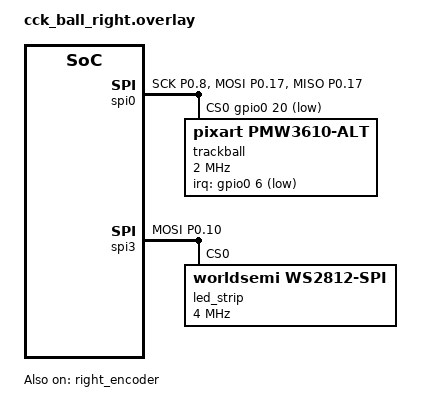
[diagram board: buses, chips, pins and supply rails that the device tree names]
/*
 * Copyright (c) 2020 ZMK Contributors
 *
 * SPDX-License-Identifier: MIT
 */
 
#include "cck_ball.dtsi"

&default_transform {
    col-offset = <6>;
}; 

&kscan0 {
	col-gpios
		= <&gpio1 15 GPIO_ACTIVE_HIGH>
        , <&gpio0 9 GPIO_ACTIVE_HIGH>
        , <&gpio0 10 GPIO_ACTIVE_HIGH>
        , <&gpio1 11 GPIO_ACTIVE_HIGH>
        , <&gpio1 4 GPIO_ACTIVE_HIGH>
        , <&gpio1 6 GPIO_ACTIVE_HIGH>
		;
};

// trackball
#include <zephyr/dt-bindings/input/input-event-codes.h>

&pinctrl {
    spi0_default: spi0_default {
        group1 {
            psels = <NRF_PSEL(SPIM_SCK, 0, 8)>,
                <NRF_PSEL(SPIM_MOSI, 0, 17)>,
                <NRF_PSEL(SPIM_MISO, 0, 17)>;
        };
    };

    spi0_sleep: spi0_sleep {
        group1 {
            psels = <NRF_PSEL(SPIM_SCK, 0, 8)>,
                <NRF_PSEL(SPIM_MOSI, 0, 17)>,
                <NRF_PSEL(SPIM_MISO, 0, 17)>;
            low-power-enable;
        };
    };
};

&spi0 {
    status = "okay";
    compatible = "nordic,nrf-spim";
    pinctrl-0 = <&spi0_default>;
    pinctrl-1 = <&spi0_sleep>;
    pinctrl-names = "default", "sleep";
    cs-gpios = <&gpio0 20 GPIO_ACTIVE_LOW>;

    trackball: trackball@0 {
        status = "okay";
        compatible = "pixart,pmw3610-alt";
        reg = <0>;
        spi-max-frequency = <2000000>;
        irq-gpios = <&gpio0 6 (GPIO_ACTIVE_LOW | GPIO_PULL_UP)>;
        cpi = <400>;
        invert-x;
        swap-xy;
        evt-type = <INPUT_EV_REL>;
        x-input-code = <INPUT_REL_X>;
        y-input-code = <INPUT_REL_Y>;
    };
};


//RGB bus
&pinctrl {
    spi3_default: spi3_default {
        group1 {
            psels = <NRF_PSEL(SPIM_MOSI, 0, 10)>;
        };
    };

    spi3_sleep: spi3_sleep {
        group1 {
            psels = <NRF_PSEL(SPIM_MOSI, 0, 10)>;
            low-power-enable;
        };
    };
};

&spi3 {
    compatible = "nordic,nrf-spim";
    status = "okay";

    pinctrl-0 = <&spi3_default>;
    pinctrl-1 = <&spi3_sleep>;
    pinctrl-names = "default", "sleep";

    led_strip: ws2812@0 {
        compatible = "worldsemi,ws2812-spi";

        /* SPI */
        reg = <0>; /* ignored, but necessary for SPI bindings */
        spi-max-frequency = <4000000>;

        /* WS2812 */
        chain-length = <27>; /* number of LEDs */
        spi-one-frame = <0x70>;
        spi-zero-frame = <0x40>;
        color-mapping = <LED_COLOR_ID_GREEN
                         LED_COLOR_ID_RED
                         LED_COLOR_ID_BLUE>;
    };
};



/ {
    trackball_listener {
        compatible = "zmk,input-listener";
        device = <&trackball>;
        input-processors = <&zip_xy_scaler 2 1>;
    };
};

// enable right encoder
&right_encoder {
	status = "okay";
};

